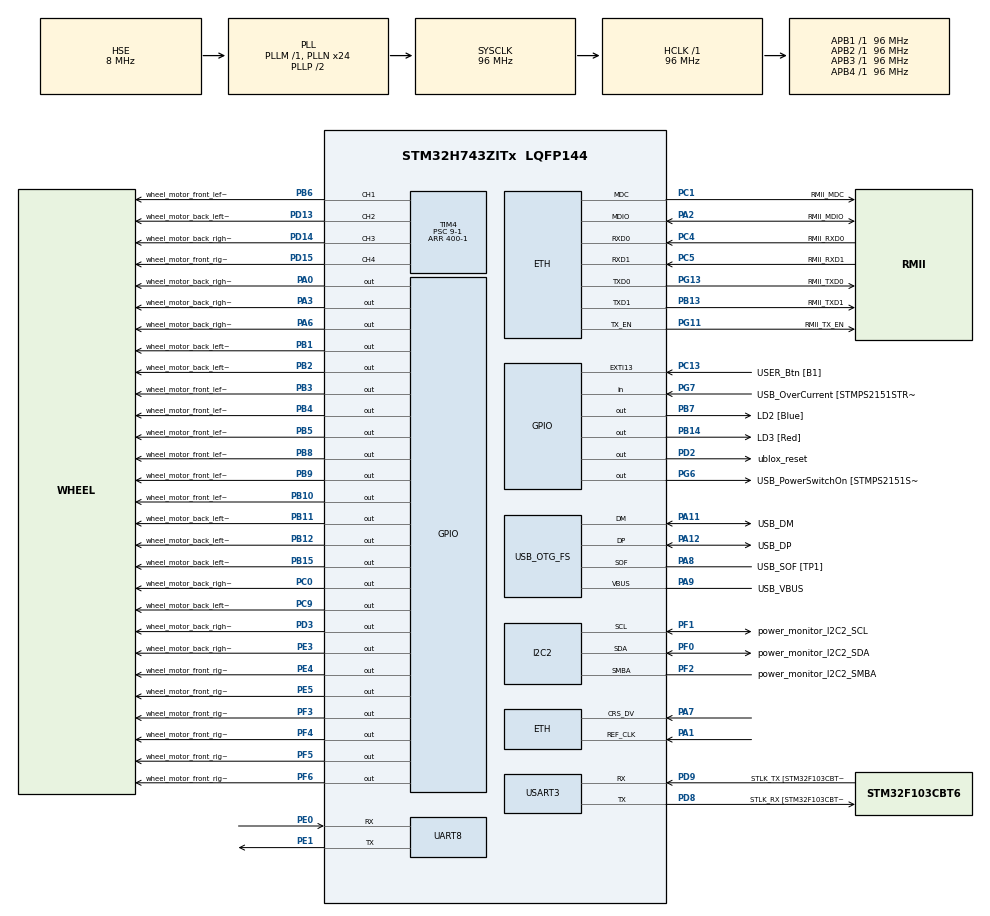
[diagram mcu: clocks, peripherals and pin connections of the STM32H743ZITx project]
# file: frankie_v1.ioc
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CORTEX_M7.AccessPermission-Cortex_Memory_Protection_Unit_Region0_Settings=MPU_REGION_FULL_ACCESS
CORTEX_M7.AccessPermission-Cortex_Memory_Protection_Unit_Region1_Settings=MPU_REGION_FULL_ACCESS
CORTEX_M7.AccessPermission-Cortex_Memory_Protection_Unit_Region2_Settings=MPU_REGION_FULL_ACCESS
CORTEX_M7.BaseAddress-Cortex_Memory_Protection_Unit_Region0_Settings=0x30040000
CORTEX_M7.BaseAddress-Cortex_Memory_Protection_Unit_Region1_Settings=0x30044000
CORTEX_M7.BaseAddress-Cortex_Memory_Protection_Unit_Region2_Settings=0x24000000
CORTEX_M7.CPU_DCache=Enabled
CORTEX_M7.CPU_ICache=Enabled
CORTEX_M7.Enable-Cortex_Memory_Protection_Unit_Region0_Settings=MPU_REGION_ENABLE
CORTEX_M7.Enable-Cortex_Memory_Protection_Unit_Region1_Settings=MPU_REGION_ENABLE
CORTEX_M7.Enable-Cortex_Memory_Protection_Unit_Region2_Settings=MPU_REGION_ENABLE
CORTEX_M7.IsBufferable-Cortex_Memory_Protection_Unit_Region0_Settings=MPU_ACCESS_BUFFERABLE
CORTEX_M7.IsBufferable-Cortex_Memory_Protection_Unit_Region1_Settings=MPU_ACCESS_NOT_BUFFERABLE
CORTEX_M7.IsBufferable-Cortex_Memory_Protection_Unit_Region2_Settings=MPU_ACCESS_BUFFERABLE
CORTEX_M7.IsCacheable-Cortex_Memory_Protection_Unit_Region1_Settings=MPU_ACCESS_CACHEABLE
CORTEX_M7.IsCacheable-Cortex_Memory_Protection_Unit_Region2_Settings=MPU_ACCESS_CACHEABLE
CORTEX_M7.IsShareable-Cortex_Memory_Protection_Unit_Region1_Settings=MPU_ACCESS_NOT_SHAREABLE
CORTEX_M7.IsShareable-Cortex_Memory_Protection_Unit_Region2_Settings=MPU_ACCESS_SHAREABLE
CORTEX_M7.MPU_Control=MPU_PRIVILEGED_DEFAULT
CORTEX_M7.Size-Cortex_Memory_Protection_Unit_Region0_Settings=MPU_REGION_SIZE_256B
CORTEX_M7.Size-Cortex_Memory_Protection_Unit_Region1_Settings=MPU_REGION_SIZE_16KB
CORTEX_M7.Size-Cortex_Memory_Protection_Unit_Region2_Settings=MPU_REGION_SIZE_512KB
CORTEX_M7.TypeExtField-Cortex_Memory_Protection_Unit_Region1_Settings=MPU_TEX_LEVEL0
CORTEX_M7.TypeExtField-Cortex_Memory_Protection_Unit_Region2_Settings=MPU_TEX_LEVEL1
Dma.Request0=UART8_RX
Dma.UART8_RX.0.Direction=DMA_PERIPH_TO_MEMORY
Dma.UART8_RX.0.EventEnable=DISABLE
Dma.UART8_RX.0.FIFOMode=DMA_FIFOMODE_DISABLE
Dma.UART8_RX.0.Instance=DMA1_Stream0
Dma.UART8_RX.0.MemDataAlignment=DMA_MDATAALIGN_BYTE
Dma.UART8_RX.0.MemInc=DMA_MINC_ENABLE
Dma.UART8_RX.0.Mode=DMA_CIRCULAR
Dma.UART8_RX.0.PeriphDataAlignment=DMA_PDATAALIGN_BYTE
Dma.UART8_RX.0.PeriphInc=DMA_PINC_DISABLE
Dma.UART8_RX.0.Polarity=HAL_DMAMUX_REQ_GEN_RISING
Dma.UART8_RX.0.Priority=DMA_PRIORITY_LOW
Dma.UART8_RX.0.RequestNumber=1
Dma.UART8_RX.0.SignalID=NONE
Dma.UART8_RX.0.SyncEnable=DISABLE
Dma.UART8_RX.0.SyncPolarity=HAL_DMAMUX_SYNC_NO_EVENT
Dma.UART8_RX.0.SyncRequestNumber=1
Dma.UART8_RX.0.SyncSignalID=NONE
ETH.MACAddr=00\:AA\:AA\:AA\:AA\:00
ETH.MediaInterface=HAL_ETH_RMII_MODE
FREERTOS.Queues01=RobotLogProtoQ,16,TbotsProto_RobotLog,0,Dynamic,NULL,NULL
FREERTOS.Tasks01=NetStartTask,24,1024,io_proto_multicast_startNetworkingTask,As weak,NULL,Dynamic,NULL,NULL;RobotStatusTask,25,1024,io_proto_multicast_sender_task,As external,(void *)robot_status_msg_sender_profile,Dynamic,NULL,NULL;VisionMsgTask,24,1024,io_proto_multicast_listener_task,As external,(void *)vision_msg_listener_profile,Dynamic,NULL,NULL;PrimMsgTask,24,1024,io_proto_multicast_listener_task,As external,(void *)primitive_msg_listener_profile,Dynamic,NULL,NULL;testMsgUpdate,24,1024,test_msg_update,Default,(void *)robot_status_msg_sender_profile,Dynamic,NULL,NULL;RobotLogMsgSend,24,1024,io_proto_multicast_sender_task,As external,(void *)robot_log_msg_sender_profile,Dynamic,NULL,NULL;NetworkRobotLog,24,1024,io_network_logger_task,As external,(void*)robot_log_msg_sender_profile,Dynamic,NULL,NULL;UbloxOdinTask,24,1024,io_ublox_odinw262_communicator_task,As external,NULL,Dynamic,NULL,NULL
FREERTOS.configMINIMAL_STACK_SIZE=1024
FREERTOS.configTOTAL_HEAP_SIZE=80720
LWIP.BSP.number=1
LWIP.CHECKSUM_BY_HARDWARE=1
LWIP.CMSIS_VERSION-Enabled=1
LWIP.ETHARP_SUPPORT_VLAN=1
LWIP.LWIP_BROADCAST_PING=1
LWIP.LWIP_DNS=0
LWIP.LWIP_IGMP=1
LWIP.LWIP_IPV4=0
LWIP.LWIP_IPV6=1
LWIP.LWIP_IPV6_DUP_DETECT_ATTEMPTS=3
LWIP.LWIP_IPV6_FORWARD=0
LWIP.LWIP_IPV6_NUM_ADDRESSES=5
LWIP.LWIP_MPU_COMPATIBLE=0
LWIP.LWIP_MULTICAST_PING=1
LWIP.LWIP_MULTICAST_TX_OPTIONS=0
LWIP.LWIP_SNTP=0
LWIP.LWIP_SOCKET=0
LWIP.LWIP_SO_RCVTIMEO=1
LWIP.LWIP_SO_SNDTIMEO=0
LWIP.LWIP_TCP=0
LWIP.LWIP_TCPIP_CORE_LOCKING=0
LWIP.LWIP_TCPIP_CORE_LOCKING_INPUT=0
LWIP.MEMP_MEM_MALLOC=1
LWIP.MEMP_NUM_MLD6_GROUP=10
LWIP.MEMP_NUM_UDP_PCB=10
LWIP.MEM_LIBC_MALLOC=1
LWIP.MEM_SIZE=\  32768
LWIP.SO_REUSE=0
LWIP.SYS_LIGHTWEIGHT_PROT=1
LWIP.Version=v2.1.2_Cube
LWIP0.BSP.STBoard=false
LWIP0.BSP.api=BSP_COMPONENT_DRIVER
LWIP0.BSP.component=LAN8742
LWIP0.BSP.i2caddr=0
LWIP0.BSP.instance=LAN8742
LWIP0.BSP.name=Driver_PHY
LWIP0.BSP.solution=LAN8742
Mcu.Family=STM32H7
Mcu.Name=STM32H743ZITx
Mcu.Package=LQFP144
NVIC.DMA1_Stream0_IRQn=true\:5\:0\:false\:false\:true\:true\:false\:true
NVIC.ETH_IRQn=true\:5\:0\:false\:false\:true\:true\:true\:true
NVIC.ETH_WKUP_IRQn=true\:5\:0\:false\:false\:true\:true\:true\:true
NVIC.PriorityGroup=NVIC_PRIORITYGROUP_4
NVIC.UART8_IRQn=true\:5\:0\:false\:false\:true\:true\:true\:true
PA0.GPIO_Label=wheel_motor_back_right_brake
PA0.Signal=GPIO_Output
PA1.Mode=RMII
PA1.Signal=ETH_REF_CLK
PA10.GPIO_Label=USB_ID
PA10.Signal=USB_OTG_FS_ID
PA11.GPIO_Label=USB_DM
PA11.Mode=Device_Only
PA11.Signal=USB_OTG_FS_DM
PA12.GPIO_Label=USB_DP
PA12.Mode=Device_Only
PA12.Signal=USB_OTG_FS_DP
PA2.GPIO_Label=RMII_MDIO
PA2.Mode=RMII
PA2.Signal=ETH_MDIO
PA3.GPIO_Label=wheel_motor_back_right_reset
PA3.Signal=GPIO_Output
PA6.GPIO_Label=wheel_motor_back_right_direction
PA6.Signal=GPIO_Output
PA7.Mode=RMII
PA7.Signal=ETH_CRS_DV
PA8.GPIO_Label=USB_SOF [TP1]
PA8.Mode=Activate_SOF_FS
PA8.Signal=USB_OTG_FS_SOF
PA9.GPIO_Label=USB_VBUS
PA9.Mode=Activate_VBUS
PA9.Signal=USB_OTG_FS_VBUS
PB1.GPIO_Label=wheel_motor_back_left_brake
PB1.Signal=GPIO_Output
PB10.GPIO_Label=wheel_motor_front_left_esf
PB10.Signal=GPIO_Output
PB11.GPIO_Label=wheel_motor_back_left_reset
PB11.Signal=GPIO_Output
PB12.GPIO_Label=wheel_motor_back_left_coast
PB12.Signal=GPIO_Output
PB13.GPIO_Label=RMII_TXD1
PB13.Mode=RMII
PB13.Signal=ETH_TXD1
PB14.GPIO_Label=LD3 [Red]
PB14.Signal=GPIO_Output
PB15.GPIO_Label=wheel_motor_back_left_mode
PB15.Signal=GPIO_Output
PB2.GPIO_Label=wheel_motor_back_left_esf
PB2.Signal=GPIO_Output
PB3\ (JTDO/TRACESWO).GPIO_Label=wheel_motor_front_left_reset
PB3\ (JTDO/TRACESWO).Signal=GPIO_Output
PB4\ (NJTRST).GPIO_Label=wheel_motor_front_left_coast
PB4\ (NJTRST).Signal=GPIO_Output
PB5.GPIO_Label=wheel_motor_front_left_mode
PB5.Signal=GPIO_Output
PB6.GPIO_Label=wheel_motor_front_left_pwm
PB6.Signal=S_TIM4_CH1
PB7.GPIO_Label=LD2 [Blue]
PB7.Signal=GPIO_Output
PB8.GPIO_Label=wheel_motor_front_left_direction
PB8.Signal=GPIO_Output
PB9.GPIO_Label=wheel_motor_front_left_brake
PB9.Signal=GPIO_Output
PC0.GPIO_Label=wheel_motor_back_right_coast
PC0.Signal=GPIO_Output
PC1.GPIO_Label=RMII_MDC
PC1.Mode=RMII
PC1.Signal=ETH_MDC
PC13.GPIO_Label=USER_Btn [B1]
PC13.Signal=GPXTI13
PC14-OSC32_IN\ (OSC32_IN).Mode=LSE-External-Oscillator
PC14-OSC32_IN\ (OSC32_IN).Signal=RCC_OSC32_IN
PC15-OSC32_OUT\ (OSC32_OUT).Mode=LSE-External-Oscillator
PC15-OSC32_OUT\ (OSC32_OUT).Signal=RCC_OSC32_OUT
PC4.GPIO_Label=RMII_RXD0
PC4.Mode=RMII
PC4.Signal=ETH_RXD0
PC5.GPIO_Label=RMII_RXD1
PC5.Mode=RMII
PC5.Signal=ETH_RXD1
PC9.GPIO_Label=wheel_motor_back_left_direction
PC9.Signal=GPIO_Output
PD13.GPIO_Label=wheel_motor_back_left_pwm
PD13.Signal=S_TIM4_CH2
PD14.GPIO_Label=wheel_motor_back_right_pwm
PD14.Signal=S_TIM4_CH3
PD15.GPIO_Label=wheel_motor_front_right_pwm
PD15.Signal=S_TIM4_CH4
PD2.GPIO_Label=ublox_reset
PD2.Signal=GPIO_Output
PD3.GPIO_Label=wheel_motor_back_right_mode
PD3.Signal=GPIO_Output
PD8.GPIO_Label=STLK_RX [STM32F103CBT6_PA3]
PD8.Mode=Asynchronous
PD8.Signal=USART3_TX
PD9.GPIO_Label=STLK_TX [STM32F103CBT6_PA2]
PD9.Mode=Asynchronous
PD9.Signal=USART3_RX
PE0.Mode=Asynchronous
PE0.Signal=UART8_RX
PE1.Mode=Asynchronous
PE1.Signal=UART8_TX
PE3.GPIO_Label=wheel_motor_back_right_esf
PE3.Signal=GPIO_Output
PE4.GPIO_Label=wheel_motor_front_right_reset
PE4.Signal=GPIO_Output
PE5.GPIO_Label=wheel_motor_front_right_coast
PE5.Signal=GPIO_Output
PF0.GPIO_Label=power_monitor_I2C2_SDA
PF0.Mode=SMBus-Alert-mode
PF0.Signal=I2C2_SDA
PF1.GPIO_Label=power_monitor_I2C2_SCL
PF1.Mode=SMBus-Alert-mode
PF1.Signal=I2C2_SCL
PF2.GPIO_Label=power_monitor_I2C2_SMBA
PF2.Mode=SMBus-Alert-mode
PF2.Signal=I2C2_SMBA
PF3.GPIO_Label=wheel_motor_front_right_mode
PF3.Signal=GPIO_Output
PF4.GPIO_Label=wheel_motor_front_right_direction
PF4.Signal=GPIO_Output
PF5.GPIO_Label=wheel_motor_front_right_brake
PF5.Signal=GPIO_Output
PF6.GPIO_Label=wheel_motor_front_right_esf
PF6.Signal=GPIO_Output
PG11.GPIO_Label=RMII_TX_EN
PG11.Mode=RMII
PG11.Signal=ETH_TX_EN
PG13.GPIO_Label=RMII_TXD0
PG13.Mode=RMII
PG13.Signal=ETH_TXD0
PG6.GPIO_Label=USB_PowerSwitchOn [STMPS2151STR_EN]
PG6.Signal=GPIO_Output
PG7.GPIO_Label=USB_OverCurrent [STMPS2151STR_FAULT]
PG7.Signal=GPIO_Input
PH0-OSC_IN\ (PH0).GPIO_Label=MCO
PH0-OSC_IN\ (PH0).Mode=HSE-External-Clock-Source
PH0-OSC_IN\ (PH0).Signal=RCC_OSC_IN
PH1-OSC_OUT\ (PH1).Signal=RCC_OSC_OUT
ProjectManager.HeapSize=0x200
ProjectManager.StackSize=0x400
ProjectManager.TargetToolchain=Makefile
RCC.48MHZClocksFreq_Value=24000000
RCC.ADCFreq_Value=16125000
RCC.AHBFreq_Value=216000000
RCC.APB1CLKDivider=RCC_HCLK_DIV4
RCC.APB1Freq_Value=96000000
RCC.APB1TimFreq_Value=108000000
RCC.APB2CLKDivider=RCC_HCLK_DIV2
RCC.APB2Freq_Value=96000000
RCC.APB2TimFreq_Value=216000000
RCC.APB3Freq_Value=96000000
RCC.APB4Freq_Value=96000000
RCC.CortexFreq_Value=96000000
RCC.DIVM1=1
RCC.DIVN1=24
RCC.DIVQ1=4
RCC.HCLKFreq_Value=96000000
RCC.HSE_VALUE=8000000
RCC.HSI_VALUE=64000000
RCC.PLLM=25
RCC.PLLMUL=RCC_PLL_MUL9
RCC.PLLN=432
RCC.PLLQ=9
RCC.PLLSourceVirtual=RCC_PLLSOURCE_HSE
RCC.PRESCALERUSB=RCC_USBCLKSOURCE_PLL_DIV1_5
RCC.PWR_Regulator_Voltage_Scale=PWR_REGULATOR_VOLTAGE_SCALE1
RCC.SYSCLKFreq_VALUE=96000000
RCC.SYSCLKSource=RCC_SYSCLKSOURCE_PLLCLK
RCC.SYSCLKSourceVirtual=RCC_SYSCLKSOURCE_PLLCLK
RCC.USBFreq_Value=48000000
RCC.VCOOutputFreq_Value=432000000
SH.S_TIM4_CH1.0=TIM4_CH1,PWM Generation1 CH1
SH.S_TIM4_CH2.0=TIM4_CH2,PWM Generation2 CH2
SH.S_TIM4_CH3.0=TIM4_CH3,PWM Generation3 CH3
SH.S_TIM4_CH4.0=TIM4_CH4,PWM Generation4 CH4
TIM4.Channel-PWM\ Generation1\ CH1=TIM_CHANNEL_1
TIM4.Channel-PWM\ Generation2\ CH2=TIM_CHANNEL_2
TIM4.Channel-PWM\ Generation3\ CH3=TIM_CHANNEL_3
TIM4.Channel-PWM\ Generation4\ CH4=TIM_CHANNEL_4
TIM4.Period=400-1
TIM4.Prescaler=9-1
TIM4.TIM_MasterSlaveMode=TIM_MASTERSLAVEMODE_DISABLE
USART3.VirtualMode-Asynchronous=VM_ASYNC
USB_OTG_FS.VirtualMode=Device_Only
VP_CRC_VS_CRC.Mode=CRC_Activate
VP_FREERTOS_VS_CMSIS_V2.Mode=CMSIS_V2
VP_LWIP_VS_Enabled.Mode=Enabled
board=NUCLEO-H743ZI

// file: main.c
/* USER CODE BEGIN Header */
/**
 ******************************************************************************
 * @file           : main.c
 * @brief          : Main program body
 ******************************************************************************
 * @attention
 *
 * <h2><center>&copy; Copyright (c) 2020 STMicroelectronics.
 * All rights reserved.</center></h2>
 *
 * This software component is licensed by ST under Ultimate Liberty license
 * SLA0044, the "License"; You may not use this file except in compliance with
 * the License. You may obtain a copy of the License at:
 *                             www.st.com/SLA0044
 *
 ******************************************************************************
 */
/* USER CODE END Header */
#include "main.h"

#include "cmsis_os.h"
#include "crc.h"
#include "dma.h"
#include "gpio.h"
#include "i2c.h"
#include "lwip.h"
#include "tim.h"
#include "usart.h"
#include "usb_otg.h"

/* USER CODE BEGIN Includes */
#include "firmware/app/logger/logger.h"
#include "firmware_new/boards/frankie_v1/io/drivetrain.h"
#include "firmware_new/boards/frankie_v1/io/uart_logger.h"

/* USER CODE END Includes */

void SystemClock_Config(void);
static void MPU_Config(void);
void MX_FREERTOS_Init(void);
/* USER CODE BEGIN PFP */

static void initIoLayer(void);

/* USER CODE END PFP */

/* USER CODE BEGIN 0 */

static void initIoLayer(void)
{
    initIoDrivetrain();
    initIoNetworking();
    initPowerMonitor();
}

/* USER CODE END 0 */

int main(void)
{

    /* MPU Configuration--------------------------------------------------------*/
    MPU_Config();

    /* Enable I-Cache---------------------------------------------------------*/
    SCB_EnableICache();

    /* Enable D-Cache---------------------------------------------------------*/
    SCB_EnableDCache();

    /* MCU Configuration--------------------------------------------------------*/

    /* Reset of all peripherals, Initializes the Flash interface and the Systick. */
    HAL_Init();

    /* Configure the system clock */
    SystemClock_Config();

    /* Initialize all configured peripherals */
    MX_GPIO_Init();
    MX_DMA_Init();
    MX_USART3_UART_Init();
    MX_USB_OTG_FS_PCD_Init();
    MX_CRC_Init();
    MX_TIM4_Init();
    MX_I2C2_SMBUS_Init();
    MX_UART8_Init();
    /* USER CODE BEGIN 2 */

    //              ---- Initialize App/IO Layers ----
    //
    // At this point the UART peripheral should be configured correctly
    // so we initialize the UART logger here so that we can see logs
    // from the initialization functions without having to be connected to a network
    io_uart_logger_init(&huart3);
    app_logger_init(0, &io_uart_logger_handleRobotLog);

    TLOG_DEBUG("Initializing I/O Layer");
    initIoLayer();
    /* USER CODE END 2 */

    /* Init scheduler */
    osKernelInitialize(); /* Call init function for freertos objects (in freertos.c) */
    MX_FREERTOS_Init();
    /* Start scheduler */
    osKernelStart();

    /* We should never get here as control is now taken by the scheduler */
    /* Infinite loop */
    while (1)
    {

    }
}

void SystemClock_Config(void)
{
    RCC_OscInitTypeDef RCC_OscInitStruct = {0};
    RCC_ClkInitTypeDef RCC_ClkInitStruct = {0};

    /** Supply configuration update enable
     */
    HAL_PWREx_ConfigSupply(PWR_LDO_SUPPLY);
    /** Configure the main internal regulator output voltage
     */
    __HAL_PWR_VOLTAGESCALING_CONFIG(PWR_REGULATOR_VOLTAGE_SCALE1);

    while (!__HAL_PWR_GET_FLAG(PWR_FLAG_VOSRDY))
    {
    }
    /** Initializes the RCC Oscillators according to the specified parameters
     * in the RCC_OscInitTypeDef structure.
     */
    RCC_OscInitStruct.OscillatorType = RCC_OSCILLATORTYPE_HSE;
    RCC_OscInitStruct.HSEState       = RCC_HSE_BYPASS;
    RCC_OscInitStruct.PLL.PLLState   = RCC_PLL_ON;
    RCC_OscInitStruct.PLL.PLLSource  = RCC_PLLSOURCE_HSE;
    RCC_OscInitStruct.PLL.PLLM       = 1;
    RCC_OscInitStruct.PLL.PLLN       = 24;
    RCC_OscInitStruct.PLL.PLLP       = 2;
    RCC_OscInitStruct.PLL.PLLQ       = 4;
    RCC_OscInitStruct.PLL.PLLR       = 2;
    RCC_OscInitStruct.PLL.PLLRGE     = RCC_PLL1VCIRANGE_3;
    RCC_OscInitStruct.PLL.PLLVCOSEL  = RCC_PLL1VCOWIDE;
    RCC_OscInitStruct.PLL.PLLFRACN   = 0;
    if (HAL_RCC_OscConfig(&RCC_OscInitStruct) != HAL_OK)
    {
        Error_Handler();
    }
    /** Initializes the CPU, AHB and APB buses clocks
     */
    RCC_ClkInitStruct.ClockType = RCC_CLOCKTYPE_HCLK | RCC_CLOCKTYPE_SYSCLK |
                                  RCC_CLOCKTYPE_PCLK1 | RCC_CLOCKTYPE_PCLK2 |
                                  RCC_CLOCKTYPE_D3PCLK1 | RCC_CLOCKTYPE_D1PCLK1;
    RCC_ClkInitStruct.SYSCLKSource   = RCC_SYSCLKSOURCE_PLLCLK;
    RCC_ClkInitStruct.SYSCLKDivider  = RCC_SYSCLK_DIV1;
    RCC_ClkInitStruct.AHBCLKDivider  = RCC_HCLK_DIV1;
    RCC_ClkInitStruct.APB3CLKDivider = RCC_APB3_DIV1;
    RCC_ClkInitStruct.APB1CLKDivider = RCC_APB1_DIV1;
    RCC_ClkInitStruct.APB2CLKDivider = RCC_APB2_DIV1;
    RCC_ClkInitStruct.APB4CLKDivider = RCC_APB4_DIV1;

    if (HAL_RCC_ClockConfig(&RCC_ClkInitStruct, FLASH_LATENCY_1) != HAL_OK)
    {
        Error_Handler();
    }
}

/* MPU Configuration */

void MPU_Config(void)
{
    MPU_Region_InitTypeDef MPU_InitStruct = {0};

    /* Disables the MPU */
    HAL_MPU_Disable();
    /** Initializes and configures the Region and the memory to be protected
     */
    MPU_InitStruct.Enable           = MPU_REGION_ENABLE;
    MPU_InitStruct.Number           = MPU_REGION_NUMBER0;
    MPU_InitStruct.BaseAddress      = 0x30040000;
    MPU_InitStruct.Size             = MPU_REGION_SIZE_256B;
    MPU_InitStruct.SubRegionDisable = 0x0;
    MPU_InitStruct.TypeExtField     = MPU_TEX_LEVEL0;
    MPU_InitStruct.AccessPermission = MPU_REGION_FULL_ACCESS;
    MPU_InitStruct.DisableExec      = MPU_INSTRUCTION_ACCESS_ENABLE;
    MPU_InitStruct.IsShareable      = MPU_ACCESS_NOT_SHAREABLE;
    MPU_InitStruct.IsCacheable      = MPU_ACCESS_NOT_CACHEABLE;
    MPU_InitStruct.IsBufferable     = MPU_ACCESS_BUFFERABLE;

    HAL_MPU_ConfigRegion(&MPU_InitStruct);
    /** Initializes and configures the Region and the memory to be protected
     */
    MPU_InitStruct.Number       = MPU_REGION_NUMBER1;
    MPU_InitStruct.BaseAddress  = 0x30044000;
    MPU_InitStruct.Size         = MPU_REGION_SIZE_16KB;
    MPU_InitStruct.IsCacheable  = MPU_ACCESS_CACHEABLE;
    MPU_InitStruct.IsBufferable = MPU_ACCESS_NOT_BUFFERABLE;

    HAL_MPU_ConfigRegion(&MPU_InitStruct);
    /** Initializes and configures the Region and the memory to be protected
     */
    MPU_InitStruct.Number       = MPU_REGION_NUMBER2;
    MPU_InitStruct.BaseAddress  = 0x24000000;
    MPU_InitStruct.Size         = MPU_REGION_SIZE_512KB;
    MPU_InitStruct.TypeExtField = MPU_TEX_LEVEL1;
    MPU_InitStruct.IsShareable  = MPU_ACCESS_SHAREABLE;
    MPU_InitStruct.IsBufferable = MPU_ACCESS_BUFFERABLE;

    HAL_MPU_ConfigRegion(&MPU_InitStruct);
    /* Enables the MPU */
    HAL_MPU_Enable(MPU_PRIVILEGED_DEFAULT);
}

void Error_Handler(void)
{
}

/************************ (C) COPYRIGHT STMicroelectronics *****END OF FILE****/

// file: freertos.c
/* USER CODE BEGIN Header */
/**
 ******************************************************************************
 * File Name          : freertos.c
 * Description        : Code for freertos applications
 ******************************************************************************
 * @attention
 *
 * <h2><center>&copy; Copyright (c) 2020 STMicroelectronics.
 * All rights reserved.</center></h2>
 *
 * This software component is licensed by ST under Ultimate Liberty license
 * SLA0044, the "License"; You may not use this file except in compliance with
 * the License. You may obtain a copy of the License at:
 *                             www.st.com/SLA0044
 *
 ******************************************************************************
 */
/* USER CODE END Header */

#include "FreeRTOS.h"

#include "cmsis_os.h"
#include "main.h"
#include "task.h"

/* USER CODE BEGIN Includes */
#include "firmware/app/logger/logger.h"
#include "firmware_new/boards/frankie_v1/io/INA226_power_monitor.h"
#include "firmware_new/boards/frankie_v1/io/drivetrain.h"
#include "firmware_new/boards/frankie_v1/io/network_logger.h"
#include "firmware_new/boards/frankie_v1/io/proto_multicast_communication_profile.h"
#include "firmware_new/boards/frankie_v1/io/proto_multicast_communication_tasks.h"
#include "firmware_new/boards/frankie_v1/io/ublox_odinw262_communicator.h"
#include "firmware_new/boards/frankie_v1/tim.h"
#include "firmware_new/boards/frankie_v1/usart.h"
#include "shared/constants.h"
#include "shared/proto/robot_log_msg.nanopb.h"
#include "shared/proto/robot_status_msg.nanopb.h"
#include "shared/proto/tbots_software_msgs.nanopb.h"
/* USER CODE END Includes */

/* USER CODE BEGIN Variables */

ProtoMulticastCommunicationProfile_t *robot_status_msg_sender_profile;
ProtoMulticastCommunicationProfile_t *robot_log_msg_sender_profile;
ProtoMulticastCommunicationProfile_t *vision_msg_listener_profile;
ProtoMulticastCommunicationProfile_t *primitive_msg_listener_profile;

static TbotsProto_Vision vision_msg;
static TbotsProto_RobotStatus robot_status_msg;
static TbotsProto_RobotLog robot_log_msg;
static TbotsProto_Primitive primitive_msg;
/* Definitions for I2C INA226 Power Monitor */
static I2C_HandleTypeDef I2c2Handle;

/* USER CODE END Variables */
/* Definitions for NetStartTask */
osThreadId_t NetStartTaskHandle;
const osThreadAttr_t NetStartTask_attributes = {
    .name       = "NetStartTask",
    .stack_size = 1024 * 4,
    .priority   = (osPriority_t)osPriorityNormal,
};
/* Definitions for RobotStatusTask */
osThreadId_t RobotStatusTaskHandle;
const osThreadAttr_t RobotStatusTask_attributes = {
    .name       = "RobotStatusTask",
    .stack_size = 1024 * 4,
    .priority   = (osPriority_t)osPriorityNormal1,
};
/* Definitions for VisionMsgTask */
osThreadId_t VisionMsgTaskHandle;
const osThreadAttr_t VisionMsgTask_attributes = {
    .name       = "VisionMsgTask",
    .stack_size = 1024 * 4,
    .priority   = (osPriority_t)osPriorityNormal,
};
/* Definitions for PrimMsgTask */
osThreadId_t PrimMsgTaskHandle;
const osThreadAttr_t PrimMsgTask_attributes = {
    .name       = "PrimMsgTask",
    .stack_size = 1024 * 4,
    .priority   = (osPriority_t)osPriorityNormal,
};
/* Definitions for testMsgUpdate */
osThreadId_t testMsgUpdateHandle;
const osThreadAttr_t testMsgUpdate_attributes = {
    .name       = "testMsgUpdate",
    .stack_size = 1024 * 4,
    .priority   = (osPriority_t)osPriorityNormal,
};
/* Definitions for RobotLogMsgSend */
osThreadId_t RobotLogMsgSendHandle;
const osThreadAttr_t RobotLogMsgSend_attributes = {
    .name       = "RobotLogMsgSend",
    .stack_size = 1024 * 4,
    .priority   = (osPriority_t)osPriorityNormal,
};
/* Definitions for NetworkRobotLog */
osThreadId_t NetworkRobotLogHandle;
const osThreadAttr_t NetworkRobotLog_attributes = {
    .name       = "NetworkRobotLog",
    .stack_size = 1024 * 4,
    .priority   = (osPriority_t)osPriorityNormal,
};
/* Definitions for UbloxOdinTask */
osThreadId_t UbloxOdinTaskHandle;
const osThreadAttr_t UbloxOdinTask_attributes = {
    .name       = "UbloxOdinTask",
    .stack_size = 1024 * 4,
    .priority   = (osPriority_t)osPriorityNormal,
};
/* Definitions for RobotLogProtoQ */
osMessageQueueId_t RobotLogProtoQHandle;
const osMessageQueueAttr_t RobotLogProtoQ_attributes = {.name = "RobotLogProtoQ"};

void io_proto_multicast_startNetworkingTask(void *argument);
extern void io_proto_multicast_sender_task(void *argument);
extern void io_proto_multicast_listener_task(void *argument);
void test_msg_update(void *argument);
extern void io_network_logger_task(void *argument);
extern void io_ublox_odinw262_communicator_task(void *argument);

extern void MX_LWIP_Init(void);
void MX_FREERTOS_Init(void); /* (MISRA C 2004 rule 8.1) */

void MX_FREERTOS_Init(void)
{

    /* Create the queue(s) */
    /* creation of RobotLogProtoQ */
    RobotLogProtoQHandle =
        osMessageQueueNew(16, sizeof(TbotsProto_RobotLog), &RobotLogProtoQ_attributes);

    /* Create the thread(s) */
    /* creation of NetStartTask */
    NetStartTaskHandle = osThreadNew(io_proto_multicast_startNetworkingTask, NULL,
                                     &NetStartTask_attributes);

    /* creation of RobotStatusTask */
    RobotStatusTaskHandle =
        osThreadNew(io_proto_multicast_sender_task,
                    (void *)robot_status_msg_sender_profile, &RobotStatusTask_attributes);

    /* creation of VisionMsgTask */
    VisionMsgTaskHandle =
        osThreadNew(io_proto_multicast_listener_task, (void *)vision_msg_listener_profile,
                    &VisionMsgTask_attributes);

    /* creation of PrimMsgTask */
    PrimMsgTaskHandle =
        osThreadNew(io_proto_multicast_listener_task,
                    (void *)primitive_msg_listener_profile, &PrimMsgTask_attributes);

    /* creation of testMsgUpdate */
    testMsgUpdateHandle =
        osThreadNew(test_msg_update, (void *)robot_status_msg_sender_profile,
                    &testMsgUpdate_attributes);

    /* creation of RobotLogMsgSend */
    RobotLogMsgSendHandle =
        osThreadNew(io_proto_multicast_sender_task, (void *)robot_log_msg_sender_profile,
                    &RobotLogMsgSend_attributes);

    /* creation of NetworkRobotLog */
    NetworkRobotLogHandle =
        osThreadNew(io_network_logger_task, (void *)robot_log_msg_sender_profile,
                    &NetworkRobotLog_attributes);

    /* creation of UbloxOdinTask */
    UbloxOdinTaskHandle =
        osThreadNew(io_ublox_odinw262_communicator_task, NULL, &UbloxOdinTask_attributes);

}

__weak void io_proto_multicast_startNetworkingTask(void *argument)
{
    /* init code for LWIP */
    MX_LWIP_Init();
    for (;;)
    {
        osDelay(1);
    }
}

void test_msg_update(void *argument)
{
    /* USER CODE BEGIN test_msg_update */

    // TODO https://github.com/UBC-Thunderbots/Software/issues/1519
    // This is a placeholder task to test sending robot status NOT
    // associated with a ticket because how the robot status msgs will be
    // updated and sent is TBD
    ProtoMulticastCommunicationProfile_t *comm_profile =
        (ProtoMulticastCommunicationProfile_t *)argument;

    /* Infinite loop */
    for (;;)
    {
        io_proto_multicast_communication_profile_acquireLock(comm_profile);
        // TODO enable SNTP sys_now is currently only time since reset
        // https://github.com/UBC-Thunderbots/Software/issues/1518
        robot_status_msg.time_sent.epoch_timestamp_seconds = sys_now();

        // We change the power status values randomly so that robot diagnostics
        // can "see" this robot on the network. This is a stopgap until we have
        // actual values for RobotStatus
        robot_status_msg.power_status.battery_voltage   = (float)(sys_now() % 100);
        robot_status_msg.power_status.capacitor_voltage = (float)(sys_now() % 100);
        io_proto_multicast_communication_profile_releaseLock(comm_profile);
        io_proto_multicast_communication_profile_notifyEvents(comm_profile,
                                                              PROTO_UPDATED);
        float power_monitor_val = INA226_getBusV(&I2c2Handle, INA226_ADDRESS);
        TLOG_DEBUG("Power Monitor: %d", (int)power_monitor_val);
        // run loop at 100hz
        osDelay((unsigned int)MILLISECONDS_PER_SECOND / 10);
    }
    /* USER CODE END test_msg_update */
}

/* USER CODE BEGIN Application */
void initIoNetworking(void)
{
    // TODO channel and robot_id need to be hooked up to the dials on the robot, when
    // available https://github.com/UBC-Thunderbots/Software/issues/1517
    unsigned short int channel = 0;

    // initialize multicast communication
    io_proto_multicast_communication_init(NETWORK_TIMEOUT_MS);

    primitive_msg_listener_profile = io_proto_multicast_communication_profile_create(
        "primitive_msg_listener_profile", MULTICAST_CHANNELS[channel], PRIMITIVE_PORT,
        &primitive_msg, TbotsProto_Primitive_fields, MAXIMUM_TRANSFER_UNIT_BYTES);

    vision_msg_listener_profile = io_proto_multicast_communication_profile_create(
        "vision_msg_listener_profile", MULTICAST_CHANNELS[channel], VISION_PORT,
        &vision_msg, TbotsProto_Vision_fields, MAXIMUM_TRANSFER_UNIT_BYTES);

    robot_status_msg_sender_profile = io_proto_multicast_communication_profile_create(
        "robot_status_msg_sender", MULTICAST_CHANNELS[channel], ROBOT_STATUS_PORT,
        &robot_status_msg, TbotsProto_RobotStatus_fields, MAXIMUM_TRANSFER_UNIT_BYTES);

    robot_log_msg_sender_profile = io_proto_multicast_communication_profile_create(
        "robot_log_msg_sender", MULTICAST_CHANNELS[channel], ROBOT_LOGS_PORT,
        &robot_log_msg, TbotsProto_RobotLog_fields, MAXIMUM_TRANSFER_UNIT_BYTES);

    // initialize ublox
    GpioPin_t *ublox_reset_pin =
        io_gpio_pin_create(ublox_reset_GPIO_Port, ublox_reset_Pin, ACTIVE_LOW);

    io_ublox_odinw262_communicator_init(&huart8, ublox_reset_pin, 5);

    // initialize network logger
    io_network_logger_init(RobotLogProtoQHandle);
}

void initIoDrivetrain(void)
{
    // Initialize a motor driver with the given suffix, on the given
    // timer channel
#define INIT_DRIVETRAIN_UNIT(MOTOR_NAME_SUFFIX, TIMER_CHANNEL)                           \
    {                                                                                    \
        GpioPin_t *reset_pin =                                                           \
            io_gpio_pin_create(wheel_motor_##MOTOR_NAME_SUFFIX##_reset_GPIO_Port,        \
                               wheel_motor_##MOTOR_NAME_SUFFIX##_reset_Pin, ACTIVE_LOW); \
        GpioPin_t *coast_pin =                                                           \
            io_gpio_pin_create(wheel_motor_##MOTOR_NAME_SUFFIX##_coast_GPIO_Port,        \
                               wheel_motor_##MOTOR_NAME_SUFFIX##_coast_Pin, ACTIVE_LOW); \
        GpioPin_t *mode_pin =                                                            \
            io_gpio_pin_create(wheel_motor_##MOTOR_NAME_SUFFIX##_mode_GPIO_Port,         \
                               wheel_motor_##MOTOR_NAME_SUFFIX##_mode_Pin, ACTIVE_HIGH); \
        GpioPin_t *direction_pin = io_gpio_pin_create(                                   \
            wheel_motor_##MOTOR_NAME_SUFFIX##_direction_GPIO_Port,                       \
            wheel_motor_##MOTOR_NAME_SUFFIX##_direction_Pin, ACTIVE_HIGH);               \
        GpioPin_t *brake_pin =                                                           \
            io_gpio_pin_create(wheel_motor_##MOTOR_NAME_SUFFIX##_brake_GPIO_Port,        \
                               wheel_motor_##MOTOR_NAME_SUFFIX##_brake_Pin, ACTIVE_LOW); \
        GpioPin_t *esf_pin =                                                             \
            io_gpio_pin_create(wheel_motor_##MOTOR_NAME_SUFFIX##_esf_GPIO_Port,          \
                               wheel_motor_##MOTOR_NAME_SUFFIX##_esf_Pin, ACTIVE_HIGH);  \
        PwmPin_t *pwm_pin = io_pwm_pin_create(&htim4, TIMER_CHANNEL);                    \
                                                                                         \
        AllegroA3931MotorDriver_t *motor_driver = io_allegro_a3931_motor_driver_create(  \
            pwm_pin, reset_pin, coast_pin, mode_pin, direction_pin, brake_pin, esf_pin); \
        io_allegro_a3931_motor_setPwmPercentage(motor_driver, 0.0);                      \
        drivetrain_unit_##MOTOR_NAME_SUFFIX = io_drivetrain_unit_create(motor_driver);   \
    }

    DrivetrainUnit_t *drivetrain_unit_front_left;
    DrivetrainUnit_t *drivetrain_unit_back_left;
    DrivetrainUnit_t *drivetrain_unit_back_right;
    DrivetrainUnit_t *drivetrain_unit_front_right;

    INIT_DRIVETRAIN_UNIT(front_left, TIM_CHANNEL_1);
    INIT_DRIVETRAIN_UNIT(back_left, TIM_CHANNEL_2);
    INIT_DRIVETRAIN_UNIT(back_right, TIM_CHANNEL_3);
    INIT_DRIVETRAIN_UNIT(front_right, TIM_CHANNEL_4);

    io_drivetrain_init(drivetrain_unit_front_left, drivetrain_unit_front_right,
                       drivetrain_unit_back_left, drivetrain_unit_back_right);
}

void initPowerMonitor(void)
{
    // TODO: make app layer abstraction
    I2c2Handle.Instance             = I2C2;
    I2c2Handle.Init.AddressingMode  = I2C_ADDRESSINGMODE_7BIT;
    I2c2Handle.Init.DualAddressMode = I2C_DUALADDRESS_DISABLE;
    I2c2Handle.Init.GeneralCallMode = I2C_GENERALCALL_DISABLE;
    I2c2Handle.Init.NoStretchMode   = I2C_NOSTRETCH_DISABLE;
    I2c2Handle.Init.OwnAddress1     = 0x00;
    I2c2Handle.Init.Timing          = 0x80200F73;
    if (HAL_I2C_Init(&I2c2Handle) != HAL_OK)
    {
        HAL_I2CEx_AnalogFilter_Config(&I2c2Handle, I2C_ANALOGFILTER_ENABLED);
    }
    TLOG_DEBUG("Initializing INA226");
    INA226_setConfig(&I2c2Handle, INA226_ADDRESS,
                     INA226_MODE_CONT_SHUNT_AND_BUS | INA226_VBUS_140uS |
                         INA226_VBUS_140uS | INA226_AVG_1024);
}

/* USER CODE END Application */

/************************ (C) COPYRIGHT STMicroelectronics *****END OF FILE****/
